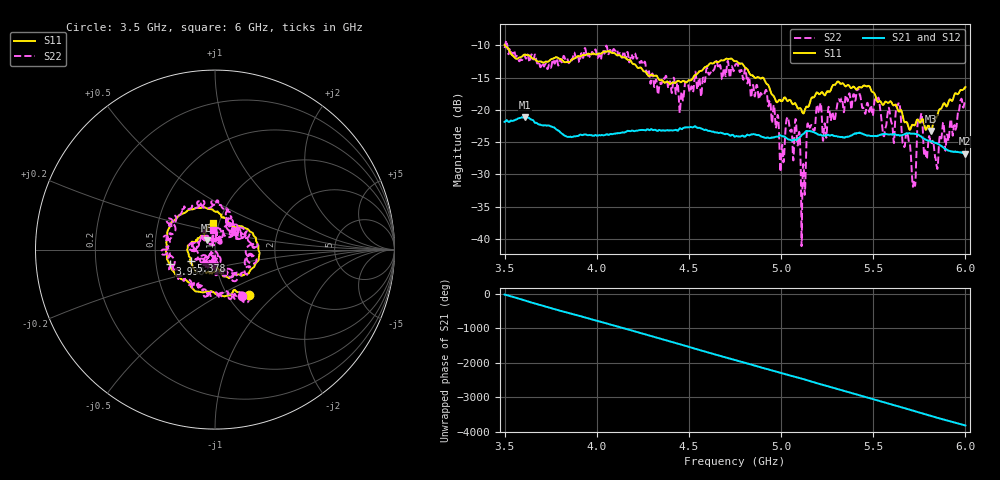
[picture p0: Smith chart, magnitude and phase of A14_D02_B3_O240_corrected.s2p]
! Created with skrf 1.9.0 (http://scikit-rf.org).
# Hz S RI R 50.0
!freq ReS11 ImS11 ReS21 ImS21 ReS12 ImS12 ReS22 ImS22
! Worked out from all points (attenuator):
!   1601 points, 3.5 GHz to 6 GHz, reference 50 ohm
!   highest |S21| = -21.12 dB at 3.611 GHz (marker M1); lowest = -26.8 dB at 5.998 GHz (marker M2)
!   lowest |S11| = -23.3 dB at 5.814 GHz (marker M3), VSWR 1.15, Z = 45.4 + j4.65 ohm
!   |S11| at or under -10 dB: 3.502 GHz to end of sweep
!   |S22| runs from -41.1 to -9.2 dB; largest |S21 - S12| = 0.00097
!   S11 on the Smith chart (normalised r, x): 3.5 GHz: 1.25, -0.71; 3.938 GHz: 0.59, -0.10; 5.378 GHz: 0.76, -0.10; 6 GHz: 0.94, +0.29
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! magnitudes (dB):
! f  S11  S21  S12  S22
! 3.5 GHz  -9.9  -21.9  -21.8  -10.4
! 3.611 GHz  -11.4  -21.1  -21.1  -11.7
! 3.917 GHz  -11.6  -23.9  -23.9  -11.2
! 3.938 GHz  -11.5  -23.8  -23.8  -10.4
! 4.334 GHz  -15.2  -23.2  -23.1  -17.4
! 4.75 GHz  -12.5  -24.2  -24.1  -13.2
! 4.927 GHz  -16.0  -24.3  -24.3  -18.5
! 5.005 GHz  -18.6  -24.1  -24.1  -25.6
! 5.034 GHz  -18.6  -24.5  -24.4  -21.2
! 5.088 GHz  -19.6  -24.6  -24.6  -25.2
! 5.12 GHz  -20.6  -23.8  -23.7  -28.4
! 5.148 GHz  -19.5  -23.3  -23.3  -22.6
! 5.167 GHz  -18.1  -23.4  -23.3  -22.6
! 5.378 GHz  -16.6  -24.0  -24.0  -19.1
! 5.584 GHz  -18.9  -23.8  -23.8  -19.7
! 5.638 GHz  -20.2  -23.9  -23.9  -19.0
! 5.719 GHz  -22.4  -23.7  -23.6  -31.4
! 5.752 GHz  -22.0  -24.0  -24.0  -21.7
! 5.814 GHz  -23.3  -24.9  -24.8  -25.1
! 5.844 GHz  -21.2  -25.2  -25.1  -28.7
! 5.998 GHz  -16.5  -26.8  -26.7  -18.9
! 6 GHz  -16.5  -26.8  -26.7  -19.0
